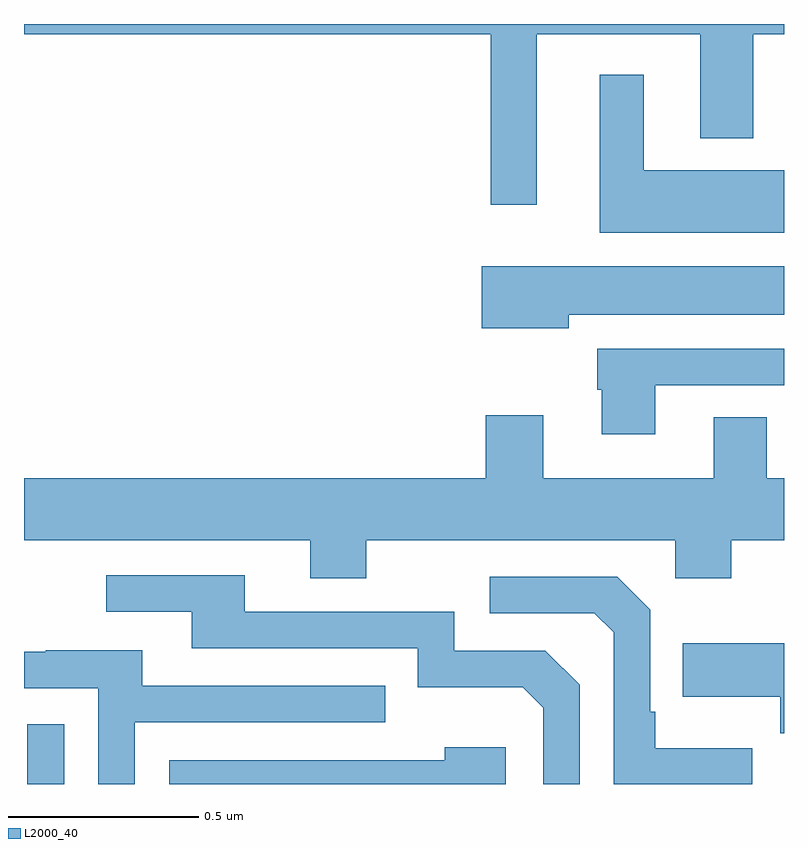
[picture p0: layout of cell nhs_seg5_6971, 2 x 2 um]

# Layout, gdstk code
import gdstk
lib = gdstk.Library(unit=1e-6, precision=1e-09)
def R(c, l, rs):  # rectangles x0, y0, x1, y1
    for r in rs: c.add(gdstk.rectangle(r[:2], r[2:], *l))
def P(c, l, *ps):  # polygons
    for p in ps: c.add(gdstk.Polygon(p, *l))
L2000_40 = (2000, 40)

nhs_seg5_6971 = lib.new_cell('nhs_seg5_6971')
R(nhs_seg5_6971, L2000_40, [(203.009,842.799,203.106,842.956)])
P(nhs_seg5_6971, L2000_40, [(204.349,844.772),(204.779,844.772),(204.779,844.499),(204.919,844.499),(204.919,844.772),(205,844.772),(205,844.799),(203,844.799),(203,844.772),(204.228,844.772),(204.228,844.323),(204.349,844.323)],
  [(205,844.414),(204.631,844.414),(204.631,844.666),(204.515,844.666),(204.515,844.25),(205,844.25)],
  [(204.433,844.034),(205,844.034),(205,844.162),(204.204,844.162),(204.204,843.998),(204.433,843.998)],
  [(204.661,843.849),(205,843.849),(205,843.945),(204.509,843.945),(204.509,843.837),(204.521,843.837),(204.521,843.72),(204.661,843.72)],
  [(203.901,843.44),(204.714,843.44),(204.714,843.341),(204.861,843.341),(204.861,843.44),(205,843.44),(205,843.604),(204.955,843.604),(204.955,843.764),(204.815,843.764),(204.815,843.604),(204.367,843.604),(204.367,843.769),(204.215,843.769),(204.215,843.604),(203,843.604),(203,843.44),(203.753,843.44),(203.753,843.341),(203.901,843.341)],
  [(204.462,843.06),(204.372,843.15),(204.132,843.15),(204.132,843.252),(203.581,843.252),(203.581,843.348),(203.217,843.348),(203.217,843.252),(203.441,843.252),(203.441,843.156),(204.036,843.156),(204.036,843.053),(204.313,843.053),(204.366,843),(204.366,842.799),(204.462,842.799)],
  [(204.917,842.893),(204.661,842.893),(204.661,842.989),(204.648,842.989),(204.648,843.258),(204.561,843.345),(204.225,843.345),(204.225,843.249),(204.501,843.249),(204.552,843.198),(204.552,842.799),(204.917,842.799)],
  [(205,843.169),(204.733,843.169),(204.733,843.029),(204.99,843.029),(204.99,842.933),(205,842.933)],
  [(203.292,842.961),(203.951,842.961),(203.951,843.057),(203.311,843.057),(203.311,843.151),(203.057,843.151),(203.057,843.147),(203,843.147),(203,843.051),(203.196,843.051),(203.196,842.799),(203.292,842.799)],
  [(204.268,842.896),(204.107,842.896),(204.107,842.862),(203.382,842.862),(203.382,842.799),(204.268,842.799)])

lib.write_gds('nhs_seg5_6971.gds')
